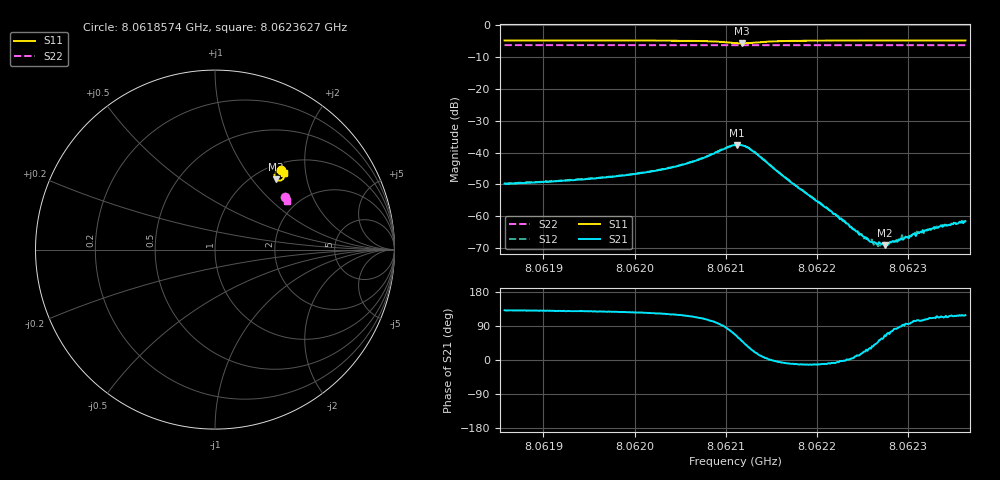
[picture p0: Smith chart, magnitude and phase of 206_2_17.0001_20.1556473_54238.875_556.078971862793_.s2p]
#  HZ  S  RI  R  50.00
! Rohde & Schwarz Vector Network Analyzer
! Rohde-Schwarz,ZNB20-2Port,1311601062101988,3.16
! Created: UTC 3/20/2024, 11:01:16 PM
! freq[Hz]  re:S11  im:S11  re:S21  im:S21  re:S12  im:S12  re:S22  im:S22
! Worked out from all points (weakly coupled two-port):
!   401 points, 8.0618574 GHz to 8.0623627 GHz, reference 50 ohm
!   highest |S21| = -37.57 dB at 8.0621126 GHz (marker M1); lowest = -69.1 dB at 8.0622743 GHz (marker M2)
!   lowest |S11| = -5.7 dB at 8.0621176 GHz (marker M3), VSWR 3.15, Z = 62.1 + j66.4 ohm
!   |S11| at or under -10 dB: nowhere
!   |S22| runs from -6.3 to -6.3 dB; largest |S21 - S12| = 0.00098
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8.06185738e9  0.3673 0.4434  -0.00216 0.00245  -0.00198 0.00258  0.3872 0.2946
8.06194202e9  0.3736 0.4376  -0.00239 0.00294  -0.00224 0.00312  0.3901 0.2907
8.06202666e9  0.3817 0.4272  -0.00289 0.00446  -0.00265 0.00468  0.393 0.2861
8.0620633e9  0.3854 0.4165  -0.00297 0.00651  -0.00264 0.00674  0.3942 0.2838
8.06211004e9  0.3552 0.3844  0.00504 0.012  0.00592 0.0118  0.3937 0.2807
8.06211256e9  0.3498 0.3855  0.00631 0.0116  0.00708 0.0112  0.3937 0.2808
8.06211762e9  0.3396 0.3913  0.00836 0.00988  0.00911 0.00942  0.3934 0.281
8.06213025e9  0.331 0.4161  0.00945 0.00415  0.00996 0.00361  0.3938 0.2816
8.0621631e9  0.3541 0.439  0.00422 -0.000537  0.0042 -0.000758  0.3962 0.2807
8.06219468e9  0.3661 0.4385  0.00191 -0.000421  0.00193 -0.000529  0.3978 0.2791
8.06222879e9  0.373 0.4359  0.000859 -2.7e-05  0.000841 -6.88e-05  0.3991 0.2772
8.06224774e9  0.3758 0.4346  0.000502 0.000137  0.000514 0.000127  0.3998 0.2763
8.06225405e9  0.3766 0.4341  0.000391 0.000201  0.000423 0.000196  0.4001 0.2759
8.06225784e9  0.377 0.4338  0.000342 0.00021  0.000379 0.000213  0.4002 0.2757
8.06226416e9  0.3777 0.4334  0.000282 0.000254  0.000275 0.00022  0.4003 0.2754
8.06227427e9  0.3788 0.4327  0.000146 0.000318  0.000184 0.000339  0.4008 0.275
8.06227932e9  0.3793 0.4322  0.000139 0.000351  0.000108 0.000373  0.401 0.2747
8.0623008e9  0.3814 0.4309  -4.6e-05 0.000452  -3.35e-05 0.000489  0.4016 0.2736
8.06230711e9  0.382 0.4304  -0.00012 0.000511  -0.000101 0.000533  0.4017 0.2731
8.06231722e9  0.3829 0.4298  -0.000154 0.00055  -0.000117 0.000534  0.4022 0.2727
8.06232606e9  0.3836 0.4293  -0.000223 0.000595  -0.000206 0.00062  0.4023 0.2723
8.0623627e9  0.3863 0.427  -0.000397 0.000738  -0.000356 0.000753  0.4037 0.2703
